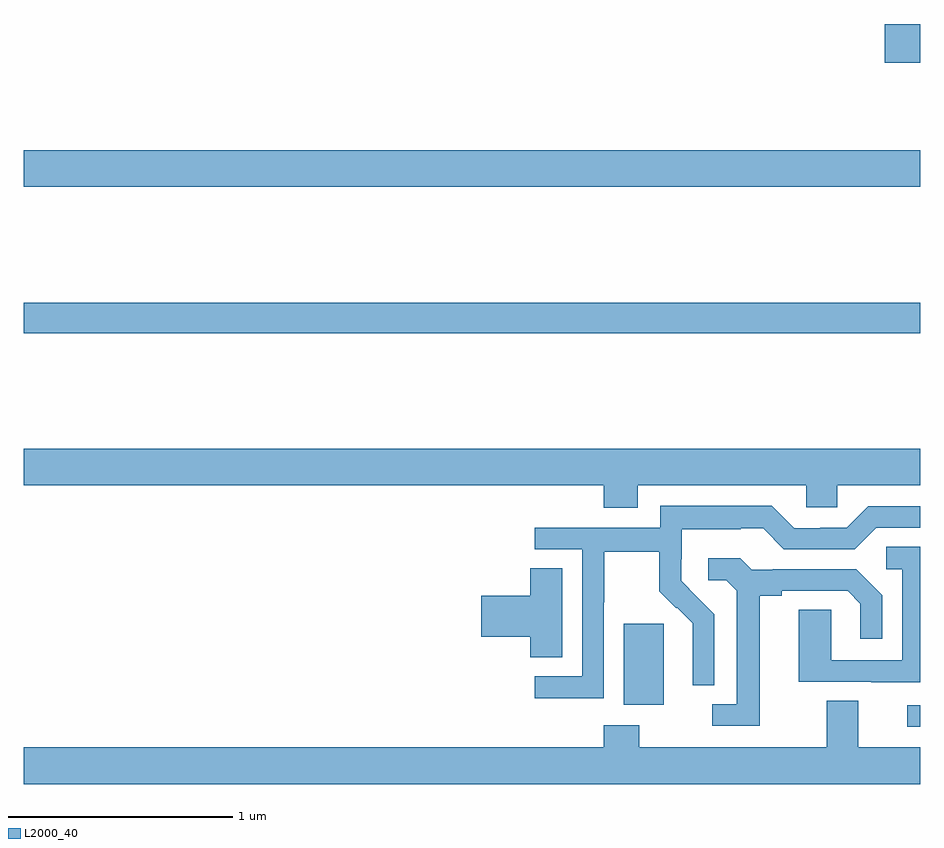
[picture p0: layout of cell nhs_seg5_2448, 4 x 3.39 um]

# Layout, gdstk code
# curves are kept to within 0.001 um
import gdstk
lib = gdstk.Library(unit=1e-6, precision=1e-09)
def R(c, l, rs):  # rectangles x0, y0, x1, y1
    for r in rs: c.add(gdstk.rectangle(r[:2], r[2:], *l))
def P(c, l, *ps):  # polygons
    for p in ps: c.add(gdstk.Polygon(p, *l))
L2000_40 = (2000, 40)

nhs_seg5_2448 = lib.new_cell('nhs_seg5_2448')
R(nhs_seg5_2448, L2000_40, [(256.941,875.664,257,875.76), (255.677,875.762,255.856,876.123), (253,877.42,257,877.556), (253,878.072,257,878.236), (256.841,878.625,257,878.799)])
P(nhs_seg5_2448, L2000_40, [(255.739,876.74),(256.491,876.74),(256.491,876.642),(256.629,876.642),(256.629,876.74),(257,876.74),(257,876.904),(253,876.904),(253,876.74),(255.587,876.74),(255.587,876.641),(255.739,876.641)],
  [(255.588,876.22),(255.591,876.22),(255.591,876.444),(255.835,876.444),(255.835,876.269),(255.912,876.192),(255.915,876.195),(255.986,876.125),(255.986,876.002),(255.984,876.002),(255.984,875.848),(256.08,875.848),(256.08,876.166),(255.934,876.314),(255.934,876.411),(255.936,876.411),(255.936,876.545),(256.199,876.545),(256.199,876.549),(256.299,876.549),(256.392,876.456),(256.707,876.456),(256.803,876.552),(257,876.552),(257,876.648),(256.767,876.648),(256.671,876.552),(256.553,876.552),(256.553,876.549),(256.437,876.549),(256.337,876.649),(255.84,876.649),(255.84,876.552),(255.279,876.552),(255.279,876.456),(255.492,876.456),(255.492,875.889),(255.279,875.889),(255.279,875.791),(255.588,875.791)],
  [(257,876.467),(256.848,876.467),(256.848,876.366),(256.92,876.366),(256.92,875.961),(256.602,875.961),(256.602,876.185),(256.457,876.185),(256.457,875.865),(256.781,875.865),(256.781,875.861),(257,875.861)],
  [(256.285,876.248),(256.381,876.248),(256.381,876.27),(256.676,876.27),(256.733,876.213),(256.733,876.057),(256.83,876.057),(256.83,876.25),(256.714,876.366),(256.342,876.366),(256.342,876.363),(256.248,876.363),(256.196,876.415),(256.053,876.415),(256.053,876.318),(256.134,876.318),(256.181,876.271),(256.181,875.763),(256.071,875.763),(256.071,875.667),(256.285,875.667)],
  [(255.403,876.371),(255.26,876.371),(255.26,876.248),(255.042,876.248),(255.042,876.065),(255.26,876.065),(255.26,875.974),(255.403,875.974)],
  [(257,875.572),(256.723,875.572),(256.723,875.78),(256.583,875.78),(256.583,875.572),(255.747,875.572),(255.747,875.671),(255.587,875.671),(255.587,875.572),(253,875.572),(253,875.408),(257,875.408)])

lib.write_gds('nhs_seg5_2448.gds')
